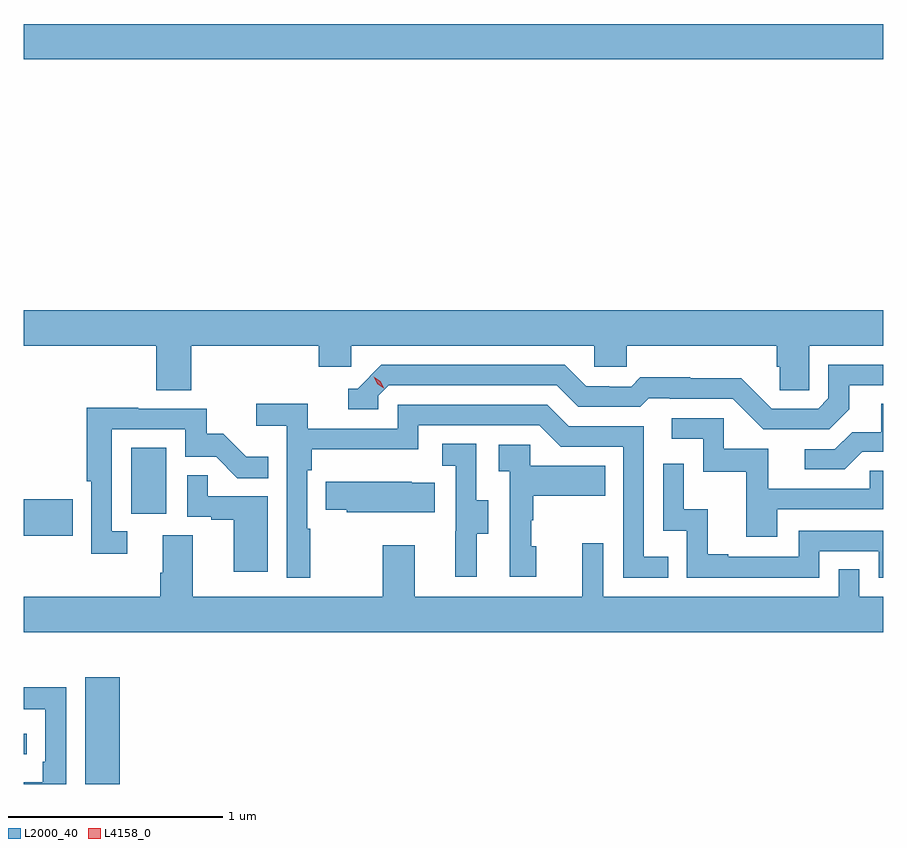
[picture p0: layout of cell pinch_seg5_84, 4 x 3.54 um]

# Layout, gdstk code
import gdstk
lib = gdstk.Library(unit=1e-6, precision=1e-09)
def R(c, l, rs):  # rectangles x0, y0, x1, y1
    for r in rs: c.add(gdstk.rectangle(r[:2], r[2:], *l))
def P(c, l, *ps):  # polygons
    for p in ps: c.add(gdstk.Polygon(p, *l))
L2000_40 = (2000, 40)
L4158_0 = (4158, 0)

pinch_seg5_84 = lib.new_cell('pinch_seg5_84')
R(pinch_seg5_84, L2000_40, [(1043.561,901.341,1043.722,901.837), (1043.274,901.479,1043.29,901.575), (1043.274,902.495,1043.503,902.666), (1043.774,902.598,1043.938,902.905), (1043.274,904.712,1047.274,904.876)])
P(pinch_seg5_84, L2000_40, [(1044.055,903.38),(1044.647,903.38),(1044.647,903.282),(1044.798,903.282),(1044.798,903.38),(1045.929,903.38),(1045.929,903.282),(1046.079,903.282),(1046.079,903.38),(1046.777,903.38),(1046.777,903.282),(1046.791,903.282),(1046.791,903.172),(1046.928,903.172),(1046.928,903.38),(1047.274,903.38),(1047.274,903.544),(1043.274,903.544),(1043.274,903.38),(1043.891,903.38),(1043.891,903.172),(1044.055,903.172)],
  [(1047.115,903.085),(1047.115,903.195),(1047.274,903.195),(1047.274,903.291),(1047.018,903.291),(1047.018,903.135),(1046.97,903.087),(1046.754,903.087),(1046.612,903.229),(1046.376,903.229),(1046.376,903.232),(1046.143,903.232),(1046.101,903.189),(1045.998,903.189),(1045.998,903.192),(1045.891,903.192),(1045.792,903.291),(1044.939,903.291),(1044.828,903.18),(1044.785,903.18),(1044.785,903.084),(1044.924,903.084),(1044.924,903.147),(1044.972,903.195),(1045.755,903.195),(1045.854,903.096),(1046.143,903.096),(1046.182,903.135),(1046.281,903.135),(1046.281,903.132),(1046.574,903.132),(1046.715,902.991),(1047.021,902.991)],
  [(1047.175,902.886),(1047.274,902.886),(1047.274,903.11),(1047.263,903.11),(1047.263,902.978),(1047.128,902.978),(1047.048,902.898),(1046.907,902.898),(1046.907,902.805),(1047.094,902.805)],
  [(1044.607,902.528),(1044.594,902.528),(1044.594,902.801),(1044.614,902.801),(1044.614,902.897),(1045.11,902.897),(1045.11,903.009),(1045.674,903.009),(1045.773,902.91),(1046.064,902.91),(1046.064,902.301),(1046.273,902.301),(1046.273,902.397),(1046.16,902.397),(1046.16,903.006),(1045.81,903.006),(1045.711,903.105),(1045.014,903.105),(1045.014,902.994),(1044.596,902.994),(1044.596,903.11),(1044.357,903.11),(1044.357,903.008),(1044.498,903.008),(1044.498,902.301),(1044.607,902.301)],
  [(1043.757,902.517),(1043.685,902.517),(1043.685,902.991),(1044.027,902.991),(1044.027,902.862),(1044.171,902.862),(1044.269,902.764),(1044.413,902.764),(1044.413,902.863),(1044.309,902.863),(1044.202,902.97),(1044.126,902.97),(1044.126,903.087),(1043.807,903.087),(1043.807,903.092),(1043.569,903.092),(1043.569,902.749),(1043.589,902.749),(1043.589,902.412),(1043.757,902.412)],
  [(1046.779,902.619),(1047.274,902.619),(1047.274,902.799),(1047.211,902.799),(1047.211,902.715),(1046.737,902.715),(1046.737,902.901),(1046.532,902.901),(1046.532,903.042),(1046.289,903.042),(1046.289,902.946),(1046.436,902.946),(1046.436,902.793),(1046.635,902.793),(1046.635,902.49),(1046.779,902.49)],
  [(1045.381,902.506),(1045.435,902.506),(1045.435,902.661),(1045.38,902.661),(1045.38,902.924),(1045.221,902.924),(1045.221,902.821),(1045.284,902.821),(1045.284,902.517),(1045.283,902.517),(1045.283,902.304),(1045.381,902.304)],
  [(1045.66,902.448),(1045.635,902.448),(1045.635,902.567),(1045.645,902.567),(1045.645,902.681),(1045.979,902.681),(1045.979,902.821),(1045.632,902.821),(1045.632,902.919),(1045.485,902.919),(1045.485,902.795),(1045.536,902.795),(1045.536,902.304),(1045.66,902.304)],
  [(1046.976,902.424),(1047.252,902.424),(1047.252,902.301),(1047.274,902.301),(1047.274,902.52),(1046.88,902.52),(1046.88,902.397),(1046.551,902.397),(1046.551,902.41),(1046.456,902.41),(1046.456,902.618),(1046.346,902.618),(1046.346,902.83),(1046.25,902.83),(1046.25,902.52),(1046.358,902.52),(1046.358,902.301),(1046.976,902.301)],
  [(1044.409,902.679),(1044.131,902.679),(1044.131,902.777),(1044.036,902.777),(1044.036,902.583),(1044.147,902.583),(1044.147,902.571),(1044.251,902.571),(1044.251,902.328),(1044.409,902.328)],
  [(1045.187,902.743),(1045.079,902.743),(1045.079,902.746),(1044.679,902.746),(1044.679,902.617),(1044.777,902.617),(1044.777,902.606),(1045.187,902.606)],
  [(1047.274,902.212),(1047.162,902.212),(1047.162,902.339),(1047.066,902.339),(1047.066,902.212),(1045.971,902.212),(1045.971,902.461),(1045.874,902.461),(1045.874,902.212),(1045.093,902.212),(1045.093,902.452),(1044.946,902.452),(1044.946,902.212),(1044.061,902.212),(1044.061,902.498),(1043.921,902.498),(1043.921,902.324),(1043.909,902.324),(1043.909,902.212),(1043.274,902.212),(1043.274,902.048),(1047.274,902.048)],
  [(1043.472,901.79),(1043.274,901.79),(1043.274,901.689),(1043.376,901.689),(1043.376,901.444),(1043.363,901.444),(1043.363,901.348),(1043.274,901.348),(1043.274,901.341),(1043.472,901.341)])
P(pinch_seg5_84, L4158_0, [(1044.949,903.182),(1044.919,903.202),(1044.903,903.235),(1044.903,903.235),(1044.903,903.235),(1044.934,903.215),(1044.949,903.183),(1044.949,903.182)])

lib.write_gds('pinch_seg5_84.gds')
